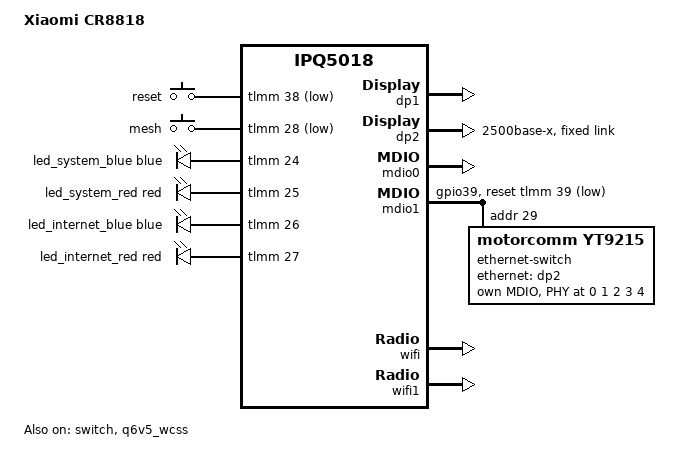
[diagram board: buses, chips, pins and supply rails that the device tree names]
/dts-v1/;

#include "ipq5018-xiaomi-base.dtsi"
#include "ipq5018-qcn6122.dtsi"

/ {
	model = "Xiaomi CR8818";
	compatible = "xiaomi,cr8818", "qcom,ipq5018";

	aliases {
		label-mac-device = &dp1;
		led-boot = &led_system_blue;
		led-failsafe = &led_system_red;
		led-running = &led_system_blue;
		led-upgrade = &led_system_red;
	};

	keys {
		compatible = "gpio-keys";

		pinctrl-0 = <&button_pins>;
		pinctrl-names = "default";

		reset-button {
			label = "reset";
			gpios = <&tlmm 38 GPIO_ACTIVE_LOW>;
			linux,code = <KEY_RESTART>;
		};

		mesh-button {
			label = "mesh";
			gpios = <&tlmm 28 GPIO_ACTIVE_LOW>;
			linux,code = <BTN_0>;
		};
	};

	leds {
		compatible = "gpio-leds";

		pinctrl-0 = <&leds_pins>;
		pinctrl-names = "default";

		led_system_blue: system-blue {
			color = <LED_COLOR_ID_BLUE>;
			function = LED_FUNCTION_POWER;
			gpios = <&tlmm 24 GPIO_ACTIVE_HIGH>;
		};

		led_system_red: system-red {
			color = <LED_COLOR_ID_RED>;
			function = LED_FUNCTION_POWER;
			gpios = <&tlmm 25 GPIO_ACTIVE_HIGH>;
		};

		led_internet_blue: internet-blue {
			color = <LED_COLOR_ID_BLUE>;
			function = LED_FUNCTION_WAN;
			gpios = <&tlmm 26 GPIO_ACTIVE_HIGH>;
		};

		led_internet_red: internet-red {
			color = <LED_COLOR_ID_RED>;
			function = LED_FUNCTION_WAN;
			gpios = <&tlmm 27 GPIO_ACTIVE_HIGH>;
		};
	};
};

&art {
	nvmem-layout {
		compatible = "fixed-layout";
		#address-cells = <1>;
		#size-cells = <1>;

		mac_addr_dp1: macaddr@0 {
			reg = <0x0 0x6>;
		};

		mac_addr_dp2: macaddr@6 {
			reg = <0x6 0x6>;
		};
	};
};

/*
* ===============================================================
*     _______________________             _____________________
*    |        IPQ5018        |           |        YT9215       |
*    | +------+   +--------+ |           | +------+   +------+ |
*    | | MAC0 |---| GE Phy |-+--- MDI ---+ | Phy4 |---| Phy0 | |
*    | +------+   +--------+ |           | +------+   | Phy1 | |
*    | +------+   +--------+ |           | +------+   | Phy2 | |
*    | | MAC1 |---| Uniphy |-+-- SGMII+--+ | Phy8 |---| Phy3 | |
*    | +------+   +--------+ |           | +------+   +------+ |
*    |_______________________|           |_____________________|
*
* ===============================================================
*/


// MAC0 -> GE Phy

&switch {
	status = "okay";

	switch_mac_mode = <MAC_MODE_SGMII_PLUS>;

	qcom,port_phyinfo {
		// MAC0 -> GE Phy --- MDI --- YT9215 Phy4
		port@0 {
			port_id = <1>;
			mdiobus = <&mdio0>;
			phy_address = <7>;
			phy_dac = <0x10 0x10>;
		};

		// MAC1 -> Uniphy --- SGMII+ (2.5G) --- YT9215 Phy8
		port@1 {
			port_id = <2>;
			mdiobus = <&mdio1>;
			phy_address = <8>;
			port_mac_sel = "QGMAC_PORT";
		};
	};
};

&dp1 {
	status = "okay";

	label = "wan";

	nvmem-cells = <&mac_addr_dp1 0>;
	nvmem-cell-names = "mac-address";
};

// MAC1 --- SGMII+ ---> YT9215 Phy8
&dp2 {
	status = "okay";

	phy-mode = "2500base-x";

	nvmem-cells = <&mac_addr_dp2 0>;
	nvmem-cell-names = "mac-address";

	fixed-link {
		speed = <2500>;
		full-duplex;
		pause;
		asym-pause;
	};
};

&mdio0 {
	status = "okay";
};

// IPQ5018 GE Phy -> YT9215 Phy4
&ge_phy {
	qcom,dac-preset-short-cable;
};

&mdio1 {
	status = "okay";

	pinctrl-0 = <&mdio1_pins>, <&switch_reset_pins>;
	pinctrl-names = "default";
	reset-gpios = <&tlmm 39 GPIO_ACTIVE_LOW>;
	reset-assert-us = <10000>;
	reset-deassert-us = <50000>;

	// YT9215 switch
	ethernet-switch@1d {
		compatible = "motorcomm,yt9215";
		reg = <0x1d>;

		mdio {
			#address-cells = <1>;
			#size-cells = <0>;

			sw_phy0: phy@0 {
				reg = <0x0>;
			};

			sw_phy1: phy@1 {
				reg = <0x1>;
			};

			sw_phy2: phy@2 {
				reg = <0x2>;
			};

			sw_phy3: phy@3 {
				reg = <0x3>;
			};

			sw_phy4: phy@4 {
				reg = <0x4>;
			};
		};

		ethernet-ports {
			ethernet-port@0 {
				reg = <0>;
				label = "lan1";
				phy-mode = "internal";
				phy-handle = <&sw_phy0>;
			};

			ethernet-port@1 {
				reg = <1>;
				label = "lan2";
				phy-mode = "internal";
				phy-handle = <&sw_phy1>;
			};

			ethernet-port@2 {
				reg = <2>;
				label = "lan3";
				phy-mode = "internal";
				phy-handle = <&sw_phy2>;
			};

			ethernet-port@3 {
				reg = <3>;
				label = "wan";
				phy-mode = "internal";
				phy-handle = <&sw_phy3>;
			};

			ethernet-port@4 {
				reg = <4>;
				status = "disabled";
			};

			ethernet-port@8 {
				reg = <8>;
				label = "cpu";
				phy-mode = "sgmii";
				ethernet = <&dp2>;

				fixed-link {
					speed = <1000>;
					full-duplex;
					pause;
				};
			};
		};
	};
};

&tlmm {
	button_pins: button-state {
		pins = "gpio38", "gpio28";
		function = "gpio";
		drive-strength = <8>;
		bias-pull-up;
	};

	switch_reset_pins: switch-reset-state {
		pins = "gpio39";
		function = "gpio";
		drive-strength = <8>;
		bias-pull-down;
	};

	leds_pins: leds-state {
		pins = "gpio24", "gpio25", "gpio26", "gpio27";
		function = "gpio";
		drive-strength = <8>;
		bias-pull-down;
	};
};

&q6v5_wcss {
	status = "okay";

	qcom,bootargs_smem = <507>;
	boot-args = <0x2 4 2 18 0 0>;
};

&wifi {
	status = "okay";

	qcom,rproc = <&q6_wcss_pd1>;
	qcom,board_id = <0x23>;
	qcom,ath11k-fw-memory-mode = <1>;
	qcom,bdf-addr = <0x4c400000>;
};

&wifi1 {
	status = "okay";

	qcom,rproc = <&q6_wcss_pd2>;
	qcom,userpd-subsys-name = "q6v5_wcss_userpd2";
	qcom,board_id = <0x60>;
	qcom,ath11k-fw-memory-mode = <1>;
	qcom,bdf-addr = <0x4d100000>;
	qcom,m3-dump-addr = <0x4df00000>;
};
